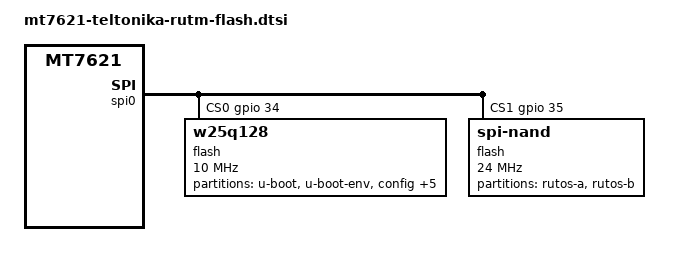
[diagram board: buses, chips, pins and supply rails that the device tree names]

&spi0 {
    status = "okay";
    cs-gpios = <&gpio 34 GPIO_ACTIVE_HIGH>, <&gpio 35 GPIO_ACTIVE_HIGH>;

    flash@0 {
		compatible = "w25q128","jedec,spi-nor";
		reg = <0>;
		spi-max-frequency = <10000000>;

		partitions {
			compatible = "fixed-partitions";
			#address-cells = <1>;
			#size-cells = <1>;

			boot: partition@0 {
				label = "u-boot";
				reg = <0x0 0x80000>;
				read-only;
			};

			partition@80000 {
				label = "u-boot-env";
				reg = <0x80000 0x10000>;
				read-only;
			};

			config: partition@90000 {
				label = "config";
				reg = <0x90000 0x10000>;
				read-only;

				nvmem-layout {
					compatible = "fixed-layout";
					#address-cells = <1>;
					#size-cells = <1>;

					macaddr_config_0: mac-address@0 {
						compatible = "mac-base";
						reg = <0x0 0x6>;
						#nvmem-cell-cells = <1>;
					};
				};
			};

			partition@a0000 {
				label = "bootconfig-a";
				reg = <0xa0000 0x10000>;
				read-only;
			};

			partition@b0000 {
				label = "bootconfig-b";
				reg = <0xb0000 0x10000>;
				read-only;
			};

			factory: partition@c0000 {
				label = "factory";
				reg = <0xc0000 0x10000>;
				read-only;
			};

			partition@d0000 {
				label = "event-log";
				reg = <0xd0000 0x90000>;
			};

			partition@200000 {
				label = "recovery";
				reg = <0x200000 0xe00000>;
			};
		};
	};

	flash@1 {
		#address-cells = <1>;
		#size-cells = <1>;
		compatible = "spi-nand","spinand,mt29f";
		reg = <1>;
		spi-max-frequency = <24000000>;

		partitions {
			compatible = "fixed-partitions";
			#address-cells = <1>;
			#size-cells = <1>;

			partition@0 {
				label = "rutos-a";
				reg = <0x00000000 0x08000000>;
			};

			partition@8000000 {
				label = "rutos-b";
				reg = <0x08000000 0x08000000>;
			};
		};
	};
};

